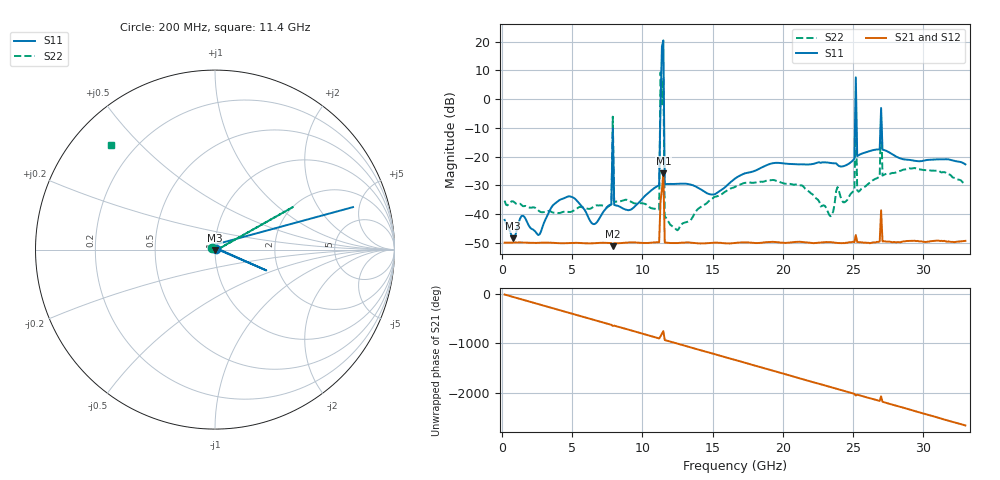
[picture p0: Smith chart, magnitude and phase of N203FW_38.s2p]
# GHZ S RI R 50
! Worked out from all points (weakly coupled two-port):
!   329 points, 200 MHz to 33 GHz, reference 50 ohm
!   highest |S21| = -25.76 dB at 11.5 GHz (marker M1); lowest = -51.2 dB at 7.9 GHz (marker M2)
!   lowest |S11| = -48.5 dB at 800 MHz (marker M3), VSWR 1.01, Z = 50 - j0.376 ohm
!   |S11| at or under -10 dB: start of sweep to 11.27 GHz; 11.56 GHz to 25.14 GHz (13.58 GHz wide, 74 % of centre); 27.05 GHz to end of sweep (the widest 3 of 4)
!   |S22| runs from -45.7 to 9.3 dB; largest |S21 - S12| = 0.012
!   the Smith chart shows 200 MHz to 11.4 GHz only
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0.2  0.00558 0.00559  0.00305 -0.000895  0.00306 -0.000888  -0.0144 0.00921
0.8  -0.00032 -0.00376  0.00139 -0.00287  0.00138 -0.00287  -0.0131 0.0101
5.7  0.00603 0.0121  -0.000437 -0.00309  -0.000454 -0.00309  0.00632 -0.0115
7.8  -0.00903 0.0116  -0.000206 0.00311  -0.000214 0.00312  -0.00826 -0.0123
7.9  0.2858 -0.1159  0.000866 0.00262  0.000857 0.00252  0.4342 0.2371
8  -0.00504 0.0135  0.000655 0.00303  0.000655 0.00304  -0.0103 -0.0126
11.2  0.00949 0.0303  -0.00322 -5.46e-05  -0.00323 -5.95e-05  -0.0107 0.00521
11.3  0.769 0.2368  -0.0118 -0.0119  -0.0124 -0.00887  0.5398 2.881
11.4  4.154 7.21  0.00403 -0.0266  0.00294 -0.0258  -0.5808 0.5823
11.5  10.03 -3.112  0.0436 -0.0274  0.0429 -0.0281  -0.2294 -2.334
11.6  0.0288 0.0162  -0.00271 0.0017  -0.00271 0.0017  -0.00779 0.00479
16.6  -0.0339 0.0238  -0.00105 0.00296  -0.00104 0.00295  -0.0293 0.00449
22.1  -0.0305 -0.0675  0.00282 0.00135  0.00283 0.00135  0.0202 0.00929
23.4  -0.00958 0.0768  0.000627 -0.00318  0.000612 -0.00318  0.00865 -0.00303
25.1  -0.0401 -0.0825  -0.00269 0.00182  -0.00272 0.00183  -0.0243 -0.00883
25.2  2.296 0.6637  -0.0016 0.00399  -0.00142 0.00402  0.2736 0.5406
25.3  -0.0769 -0.0664  -0.00209 0.00251  -0.00207 0.0025  -0.0255 -0.00432
26.9  0.0624 0.1178  0.00333 0.000191  0.00328 0.00016  -0.0401 0.0202
27  -0.5596 0.4234  -0.00119 0.0115  -0.00106 -0.000175  0.3572 -0.3321
27.1  0.099 0.0871  0.00324 -0.000781  0.00323 -0.000802  -0.0394 0.0251
27.6  0.1147 -0.0248  0.00184 -0.00275  0.00189 -0.00271  -0.0358 0.0346
33  0.0178 0.0709  -0.00219 -0.00261  -0.0022 -0.00259  0.0324 0.00967
